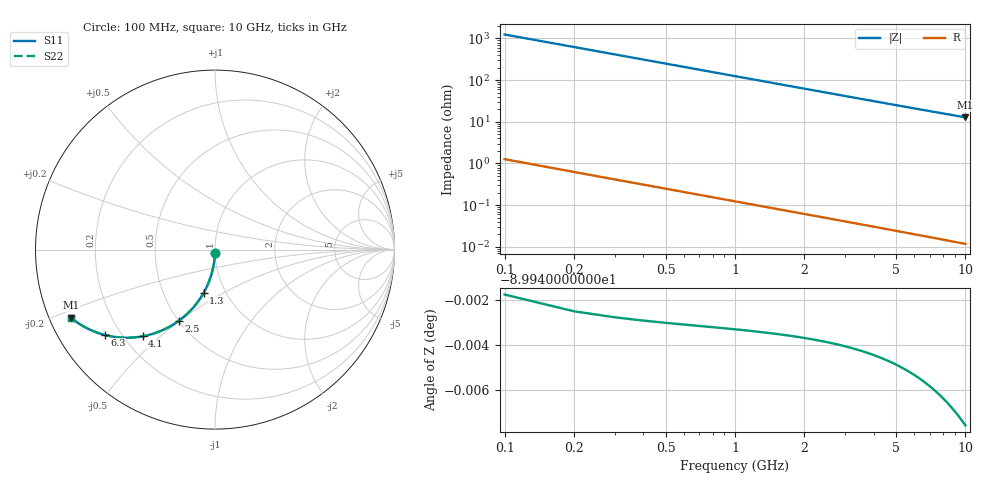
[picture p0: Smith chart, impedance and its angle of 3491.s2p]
# Hz S RI R 50.00
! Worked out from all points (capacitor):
!   100 points, 100 MHz to 10 GHz, reference 50 ohm
!   read as one part in shunt: C = 1.28 pF near 100 MHz
!   lowest |Z| = 12.8 ohm at 10 GHz (marker M1)
!   S11 on the Smith chart (normalised r, x): 100 MHz: 1.00, -0.04; 1.3 GHz: 0.79, -0.41; 2.5 GHz: 0.50, -0.50; 4.1 GHz: 0.27, -0.44; 6.3 GHz: 0.14, -0.34; 10 GHz: 0.06, -0.22
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1e8  -0.000386 -0.0199  0.9995 -0.0202  0.9995 -0.0202  -0.000386 -0.0199
2e8  -0.00161 -0.0397  0.9983 -0.0403  0.9983 -0.0403  -0.00161 -0.0397
3e8  -0.00362 -0.0594  0.9963 -0.0604  0.9963 -0.0604  -0.00362 -0.0594
4e8  -0.00642 -0.079  0.9935 -0.0803  0.9935 -0.0803  -0.00642 -0.079
5e8  -0.01 -0.0983  0.9899 -0.1  0.9899 -0.1  -0.01 -0.0983
6e8  -0.0143 -0.1175  0.9856 -0.1195  0.9856 -0.1195  -0.0143 -0.1175
8e8  -0.0252 -0.1549  0.9748 -0.1576  0.9748 -0.1576  -0.0252 -0.1549
1e9  -0.0387 -0.1909  0.9612 -0.1942  0.9612 -0.1942  -0.0387 -0.1909
1.3e9  -0.0637 -0.2417  0.9362 -0.246  0.9362 -0.246  -0.0637 -0.2417
1.5e9  -0.083 -0.273  0.9169 -0.278  0.9169 -0.278  -0.083 -0.273
1.8e9  -0.1153 -0.316  0.8846 -0.322  0.8846 -0.322  -0.1153 -0.316
2.1e9  -0.1507 -0.3538  0.8492 -0.3608  0.8492 -0.3608  -0.1507 -0.3538
2.5e9  -0.2009 -0.396  0.799 -0.4044  0.799 -0.4044  -0.2009 -0.396
2.9e9  -0.2527 -0.4293  0.7472 -0.439  0.7472 -0.439  -0.2527 -0.4293
3.4e9  -0.3174 -0.4593  0.6825 -0.4707  0.6825 -0.4707  -0.3174 -0.4593
4.1e9  -0.4034 -0.4832  0.5964 -0.497  0.5964 -0.497  -0.4034 -0.4832
5.1e9  -0.5115 -0.4907  0.4883 -0.508  0.4883 -0.508  -0.5115 -0.4907
6.3e9  -0.6154 -0.4752  0.3843 -0.4967  0.3843 -0.4967  -0.6154 -0.4752
6.7e9  -0.6442 -0.4667  0.3554 -0.4897  0.3554 -0.4897  -0.6442 -0.4667
7.5e9  -0.6944 -0.4471  0.3052 -0.473  0.3052 -0.473  -0.6944 -0.4471
8.4e9  -0.7406 -0.4231  0.2588 -0.4522  0.2588 -0.4522  -0.7406 -0.4231
1e10  -0.8025 -0.3798  0.1968 -0.4148  0.1968 -0.4148  -0.8025 -0.3798
